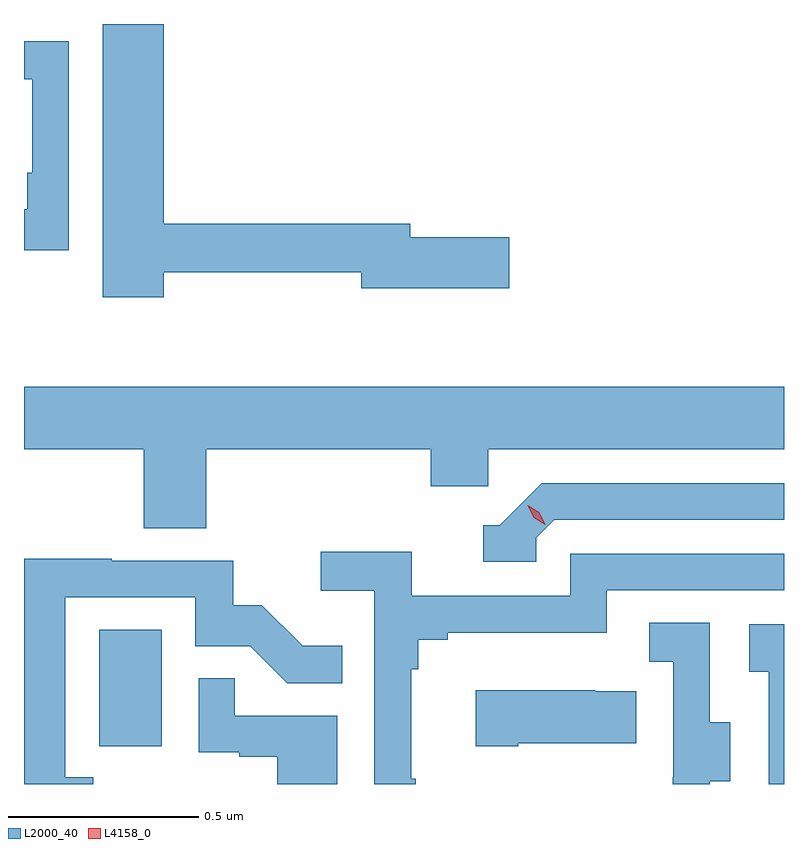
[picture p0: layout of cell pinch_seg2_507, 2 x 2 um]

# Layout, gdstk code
import gdstk
lib = gdstk.Library(unit=1e-6, precision=1e-09)
def R(c, l, rs):  # rectangles x0, y0, x1, y1
    for r in rs: c.add(gdstk.rectangle(r[:2], r[2:], *l))
def P(c, l, *ps):  # polygons
    for p in ps: c.add(gdstk.Polygon(p, *l))
L2000_40 = (2000, 40)
L4158_0 = (4158, 0)

pinch_seg2_507 = lib.new_cell('pinch_seg2_507')
R(pinch_seg2_507, L2000_40, [(970.514,588.246,970.678,588.553)])
P(pinch_seg2_507, L2000_40, [(970.684,589.494),(971.204,589.494),(971.204,589.451),(971.593,589.451),(971.593,589.586),(971.332,589.586),(971.332,589.622),(970.684,589.622),(970.684,590.147),(970.523,590.147),(970.523,589.428),(970.684,589.428)],
  [(970.434,590.102),(970.316,590.102),(970.316,590.001),(970.338,590.001),(970.338,589.756),(970.325,589.756),(970.325,589.66),(970.316,589.66),(970.316,589.551),(970.434,589.551)],
  [(970.796,589.028),(971.387,589.028),(971.387,588.93),(971.538,588.93),(971.538,589.028),(972.316,589.028),(972.316,589.192),(970.316,589.192),(970.316,589.028),(970.631,589.028),(970.631,588.82),(970.796,588.82)],
  [(971.664,588.795),(971.712,588.843),(972.316,588.843),(972.316,588.939),(971.679,588.939),(971.568,588.828),(971.525,588.828),(971.525,588.732),(971.664,588.732)],
  [(971.347,588.161),(971.335,588.161),(971.335,588.449),(971.354,588.449),(971.354,588.526),(971.431,588.526),(971.431,588.545),(971.85,588.545),(971.85,588.657),(972.316,588.657),(972.316,588.753),(971.754,588.753),(971.754,588.642),(971.336,588.642),(971.336,588.758),(971.097,588.758),(971.097,588.656),(971.238,588.656),(971.238,588.147),(971.347,588.147)],
  [(970.498,588.165),(970.425,588.165),(970.425,588.639),(970.767,588.639),(970.767,588.51),(970.911,588.51),(971.009,588.412),(971.153,588.412),(971.153,588.511),(971.049,588.511),(970.942,588.618),(970.866,588.618),(970.866,588.735),(970.547,588.735),(970.547,588.74),(970.316,588.74),(970.316,588.147),(970.498,588.147)],
  [(972.121,588.154),(972.175,588.154),(972.175,588.309),(972.12,588.309),(972.12,588.572),(971.961,588.572),(971.961,588.469),(972.024,588.469),(972.024,588.165),(972.023,588.165),(972.023,588.147),(972.121,588.147)],
  [(972.316,588.567),(972.225,588.567),(972.225,588.443),(972.276,588.443),(972.276,588.147),(972.316,588.147)],
  [(971.14,588.327),(970.871,588.327),(970.871,588.425),(970.776,588.425),(970.776,588.231),(970.883,588.231),(970.883,588.219),(970.982,588.219),(970.982,588.147),(971.14,588.147)],
  [(971.617,588.254),(971.927,588.254),(971.927,588.391),(971.819,588.391),(971.819,588.394),(971.505,588.394),(971.505,588.247),(971.617,588.247)])
P(pinch_seg2_507, L4158_0, [(971.688,588.829),(971.657,588.848),(971.641,588.881),(971.641,588.881),(971.641,588.881),(971.672,588.862),(971.688,588.829),(971.688,588.829)])

lib.write_gds('pinch_seg2_507.gds')
